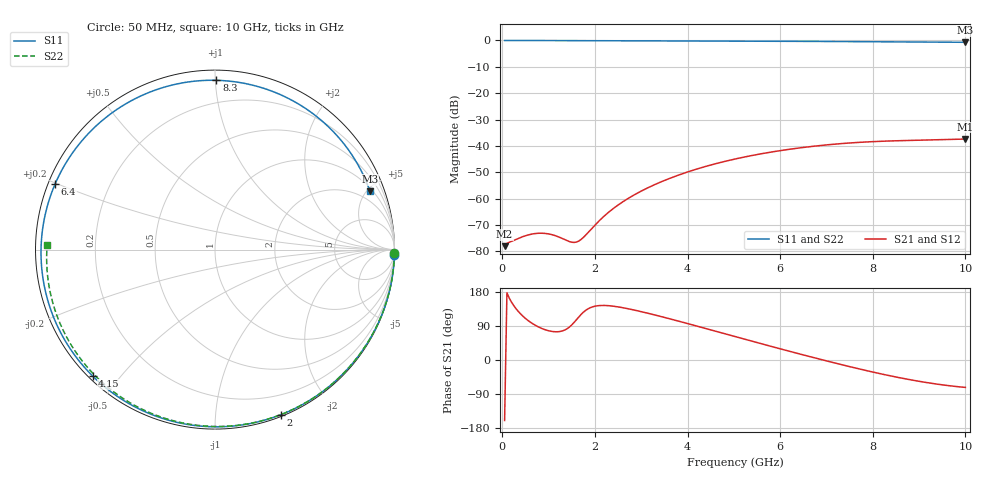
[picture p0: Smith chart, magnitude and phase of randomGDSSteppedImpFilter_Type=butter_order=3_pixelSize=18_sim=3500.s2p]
! freq	dB(S11)	phase(S11)	dB(S12)	phase(S12)
!  dB(S21)	phase(S21)	dB(S22)	phase(S22)
!S-par simulation data
#  GHz  S  DB  R 50
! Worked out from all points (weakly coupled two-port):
!   200 points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, 50 MHz to 10 GHz, reference 50 ohm
!   highest |S21| = -37.42 dB at 10 GHz (marker M1); lowest = -78.1 dB at 50 MHz (marker M2)
!   lowest |S11| = -0.7 dB at 10 GHz (marker M3), VSWR 24.88, Z = 59.7 + j261 ohm
!   |S11| at or under -10 dB: nowhere
!   |S22| runs from -0.6 to 0.0 dB; largest |S21 - S12| = 0
!   S11 on the Smith chart (normalised r, x): 50 MHz: 0, -65; 2 GHz: 0.02, -1.48; 4.15 GHz: 0.01, -0.42; 6.4 GHz: 0.02, +0.20; 8.3 GHz: 0.06, +1.01; 10 GHz: 1.19, +5.23
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0.05  -0.00 -1.8  -78.07 -159.6  -78.07 -159.6  -0.00 -1.1
0.1  -0.00 -3.5  -77.01 177.3  -77.01 177.3  -0.00 -2.1
0.35  -0.01 -12.3  -75.09 127.6  -75.09 127.6  -0.00 -7.5
0.7  -0.02 -24.5  -73.30 92.5  -73.30 92.5  -0.01 -14.9
1.05  -0.04 -36.5  -73.60 75.9  -73.60 75.9  -0.03 -22.3
1.55  -0.07 -53.4  -76.65 99.1  -76.65 99.1  -0.04 -32.7
1.75  -0.07 -60.0  -74.76 126.0  -74.76 126.0  -0.05 -36.8
2  -0.08 -68.1  -70.08 141.9  -70.08 141.9  -0.05 -41.9
2.6  -0.11 -87.2  -61.26 138.0  -61.26 138.0  -0.07 -53.9
3.4  -0.14 -111.8  -53.87 115.6  -53.87 115.6  -0.09 -69.3
4.15  -0.17 -134.1  -49.07 91.2  -49.07 91.2  -0.12 -83.2
5.05  -0.23 -160.7  -44.90 61.0  -44.90 61.0  -0.15 -99.2
5.75  -0.28 178.1  -42.52 37.7  -42.52 37.7  -0.19 -111.2
6.4  -0.33 157.6  -40.82 16.6  -40.82 16.6  -0.22 -122.0
6.7  -0.36 147.7  -40.19 7.1  -40.19 7.1  -0.24 -127.0
7.55  -0.43 118.0  -38.84 -19.0  -38.84 -19.0  -0.31 -140.8
8.3  -0.51 89.5  -38.18 -39.8  -38.18 -39.8  -0.38 -153.0
8.35  -0.51 87.5  -38.15 -41.1  -38.15 -41.1  -0.38 -153.8
8.7  -0.55 73.6  -37.98 -49.6  -37.98 -49.6  -0.42 -159.6
9.1  -0.59 57.3  -37.83 -58.3  -37.83 -58.3  -0.46 -166.2
9.55  -0.64 38.9  -37.67 -66.4  -37.67 -66.4  -0.52 -173.8
10  -0.70 20.6  -37.42 -72.4  -37.42 -72.4  -0.58 178.4
